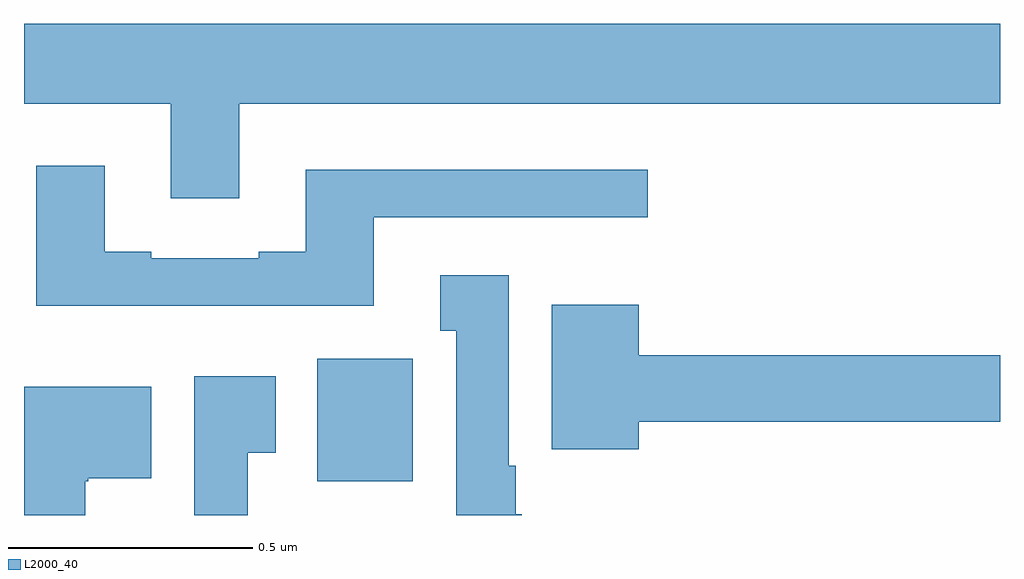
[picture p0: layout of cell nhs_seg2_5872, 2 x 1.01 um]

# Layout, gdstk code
import gdstk
lib = gdstk.Library(unit=1e-6, precision=1e-09)
def R(c, l, rs):  # rectangles x0, y0, x1, y1
    for r in rs: c.add(gdstk.rectangle(r[:2], r[2:], *l))
def P(c, l, *ps):  # polygons
    for p in ps: c.add(gdstk.Polygon(p, *l))
L2000_40 = (2000, 40)

nhs_seg2_5872 = lib.new_cell('nhs_seg2_5872')
R(nhs_seg2_5872, L2000_40, [(184.601,638.87,184.797,639.121)])
P(nhs_seg2_5872, L2000_40, [(184.441,639.644),(186,639.644),(186,639.808),(184,639.808),(184,639.644),(184.301,639.644),(184.301,639.45),(184.441,639.45)],
  [(184.717,639.411),(185.278,639.411),(185.278,639.508),(184.577,639.508),(184.577,639.34),(184.481,639.34),(184.481,639.327),(184.261,639.327),(184.261,639.34),(184.165,639.34),(184.165,639.517),(184.025,639.517),(184.025,639.23),(184.717,639.23)],
  [(185.02,638.802),(185.008,638.802),(185.008,638.902),(184.993,638.902),(184.993,639.292),(184.853,639.292),(184.853,639.179),(184.886,639.179),(184.886,638.8),(185.02,638.8)],
  [(185.26,638.992),(186,638.992),(186,639.128),(185.26,639.128),(185.26,639.232),(185.081,639.232),(185.081,638.936),(185.26,638.936)],
  [(184.459,638.929),(184.516,638.929),(184.516,639.085),(184.349,639.085),(184.349,638.8),(184.459,638.8)],
  [(184.126,638.87),(184.132,638.87),(184.132,638.876),(184.261,638.876),(184.261,639.064),(184,639.064),(184,638.8),(184.126,638.8)])

lib.write_gds('nhs_seg2_5872.gds')
